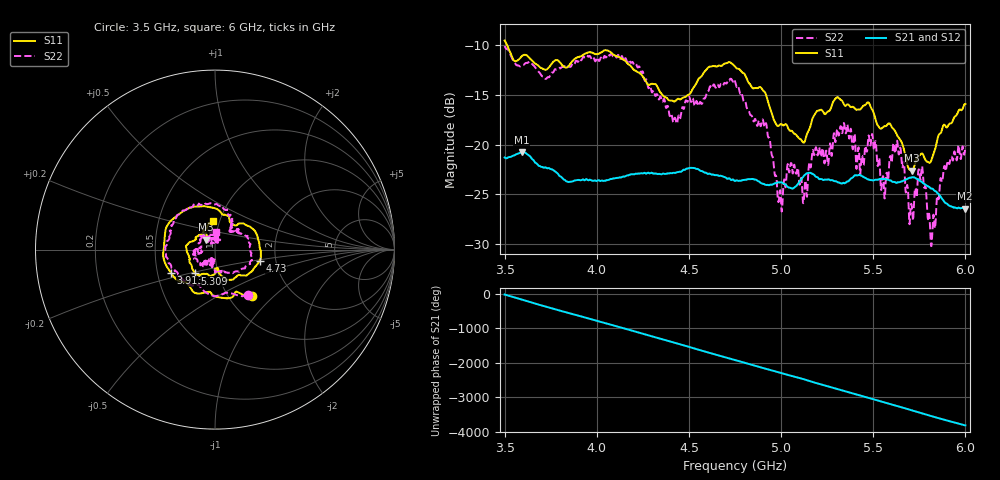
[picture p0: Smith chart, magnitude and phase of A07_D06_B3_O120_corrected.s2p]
! Created with skrf 1.9.0 (http://scikit-rf.org).
# Hz S RI R 50.0
!freq ReS11 ImS11 ReS21 ImS21 ReS12 ImS12 ReS22 ImS22
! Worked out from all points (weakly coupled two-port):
!   1601 points, 3.5 GHz to 6 GHz, reference 50 ohm
!   highest |S21| = -20.76 dB at 3.592 GHz (marker M1); lowest = -26.4 dB at 5.995 GHz (marker M2)
!   lowest |S11| = -22.6 dB at 5.708 GHz (marker M3), VSWR 1.16, Z = 45.1 + j5.03 ohm
!   |S11| at or under -10 dB: 3.513 GHz to end of sweep
!   |S22| runs from -30.2 to -10.1 dB; largest |S21 - S12| = 0.00098
!   S11 on the Smith chart (normalised r, x): 3.5 GHz: 1.28, -0.75; 3.913 GHz: 0.59, -0.17; 4.73 GHz: 1.65, -0.22; 5.309 GHz: 0.78, -0.21; 6 GHz: 0.93, +0.31
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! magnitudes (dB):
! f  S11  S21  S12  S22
! 3.5 GHz  -9.5  -21.3  -21.3  -10.1
! 3.592 GHz  -11.1  -20.8  -20.8  -12.0
! 3.913 GHz  -11.1  -23.6  -23.5  -11.5
! 3.917 GHz  -11.1  -23.6  -23.5  -11.5
! 4.334 GHz  -14.4  -22.9  -22.9  -15.3
! 4.427 GHz  -15.6  -22.8  -22.8  -17.4
! 4.73 GHz  -11.8  -23.6  -23.5  -13.4
! 4.75 GHz  -12.2  -23.7  -23.6  -13.6
! 4.912 GHz  -14.7  -24.0  -24.0  -18.1
! 4.995 GHz  -18.0  -23.8  -23.7  -24.6
! 5.045 GHz  -18.6  -24.3  -24.3  -22.8
! 5.13 GHz  -19.6  -23.0  -23.0  -23.8
! 5.167 GHz  -17.6  -22.9  -22.9  -21.0
! 5.309 GHz  -15.2  -23.8  -23.7  -18.8
! 5.584 GHz  -17.9  -23.6  -23.5  -22.7
! 5.638 GHz  -19.3  -23.8  -23.7  -20.9
! 5.708 GHz  -22.6  -23.3  -23.2  -26.0
! 5.756 GHz  -21.0  -23.7  -23.6  -23.5
! 5.823 GHz  -21.1  -24.4  -24.4  -27.9
! 5.894 GHz  -18.2  -25.9  -25.8  -22.7
! 5.995 GHz  -15.9  -26.4  -26.3  -20.9
! 6 GHz  -15.9  -26.4  -26.3  -20.2
